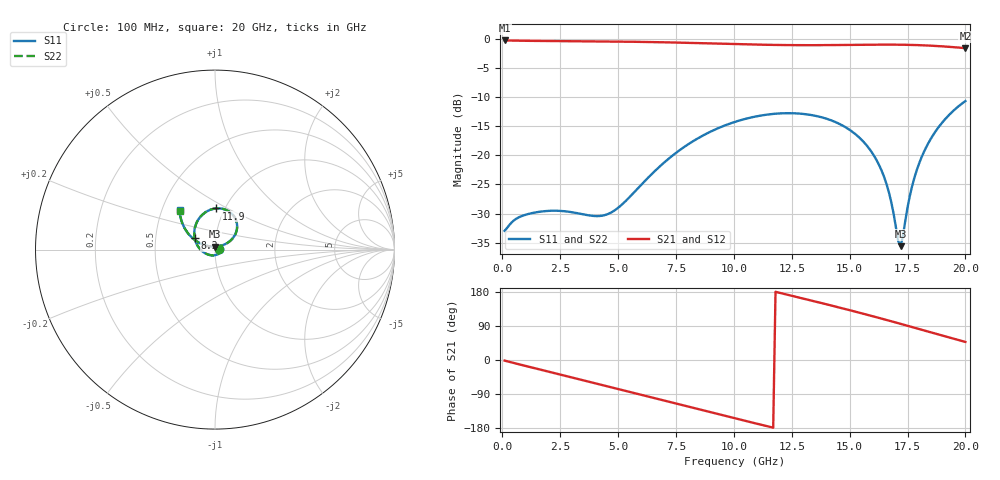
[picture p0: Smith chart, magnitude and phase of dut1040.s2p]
! Touchstone file exported from HFSS 2026.1.0
!  File:  C:/ffzhzh/LocalFiles/Ansys_Project_Files/temp_train_TSV_RDL_1040_1783295438_5512.aedt
!  Generated:  07:57:50 AM Jul  6, 2026
!  Design:  TSV_RDL
!  Project:  temp_train_TSV_RDL_1040_1783295438_5512
! Variables:
!  h_bsmrdl = 5.9um
!  h_ox = 20um
!  h_rdl = 5um
!  h_sub = 86.42um
!  h_tmrdl = 3.26um
!  h_tsv = 86.42um
!  h_via = 3um
!  l_bsmrdl = 136.4um
!  l_sub = 3767.07um
!  l_tmrdl = 716.69um
!  m_sub = 200um
!  pitch = 27.5um
!  r_tsv = 13.17um
!  s_tmrdl = 10um
!  w_bsmrdl = 14.57um
!  w_sub = 500um
!  w_tmrdl = 15.8um
!  x_tsv_center1 = 724.59um
!  x_tsv_center2 = 875.56um
!  x_tsv_center3 = 1608.05um
!  x_tsv_center4 = 1759.02um
!  x_tsv_center5 = 2491.51um
!  x_tsv_center6 = 2642.48um
# GHz S MA R 50.000000
! Terminal data exported
! Port[1] = TM_RDL1_1_T1
! Port[2] = TM_RDL5_1_T1
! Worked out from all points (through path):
!   200 points, 100 MHz to 20 GHz, reference 50 ohm
!   highest |S21| = -0.20 dB at 100 MHz (marker M1); lowest = -1.5 dB at 20 GHz (marker M2)
!   group delay of S21, straight-line fit = 42.8 ps
!   lowest |S11| = -35.6 dB at 17.2 GHz (marker M3), VSWR 1.03, Z = 49.8 + j1.63 ohm
!   |S11| at or under -10 dB: start of sweep to end of sweep
!   |S22| runs from -35.7 to -10.6 dB; largest |S21 - S12| = 1.6e-14
!   S11 on the Smith chart (normalised r, x): 100 MHz: 1.05, +0.00; 8.2 GHz: 0.79, +0.11; 11.9 GHz: 0.91, +0.44; 20 GHz: 0.62, +0.29
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0.1  0.02245 4.8  0.9777 -1.6  0.9777 -1.6  0.02245 4.8
! Gamma 0 0 0 0
! Port Impedance 50 0 50 0
0.6  0.02849 8.8  0.9729 -9.5  0.9729 -9.5  0.02849 8.8
1.3  0.03193 2.1  0.9698 -20.2  0.9698 -20.2  0.03192 2.1
2.4  0.03339 -14.1  0.9662 -37.0  0.9662 -37.0  0.03336 -14.1
3.5  0.03108 -44.0  0.9625 -53.8  0.9625 -53.8  0.03102 -43.9
4.8  0.03313 -104.9  0.9571 -73.7  0.9571 -73.7  0.03303 -105.0
5.8  0.05068 -149.5  0.9516 -89.1  0.9516 -89.1  0.05061 -149.6
6.8  0.08036 -179.6  0.9443 -104.5  0.9443 -104.5  0.08033 -179.8
8.2  0.1312 149.9  0.9307 -126.0  0.9307 -126.0  0.1312 149.8
10.1  0.196 116.4  0.9093 -154.7  0.9093 -154.7  0.1961 116.4
11.9  0.2295 88.2  0.8938 178.5  0.8938 178.5  0.2296 88.1
13.4  0.2218 65.8  0.8902 156.1  0.8902 156.1  0.2219 65.7
14.6  0.1852 48.4  0.8936 137.8  0.8936 137.8  0.1853 48.4
15.5  0.1375 36.2  0.8978 123.6  0.8978 123.6  0.1376 36.1
16.2  0.08834 28.9  0.9002 112.2  0.9002 112.2  0.08847 28.8
16.7  0.04785 30.2  0.9005 103.9  0.9005 103.9  0.04796 29.9
17.1  0.01832 67.5  0.8993 97.2  0.8993 97.2  0.01824 66.7
17.2  0.01655 97.4  0.8988 95.5  0.8988 95.5  0.01634 96.8
17.7  0.05452 155.9  0.8946 86.9  0.8946 86.9  0.05427 156.0
18.2  0.1062 156.2  0.8876 78.3  0.8876 78.3  0.106 156.3
19  0.1922 146.7  0.8701 64.6  0.8701 64.6  0.1919 146.8
20  0.2939 132.1  0.8393 47.7  0.8393 47.7  0.2937 132.2
